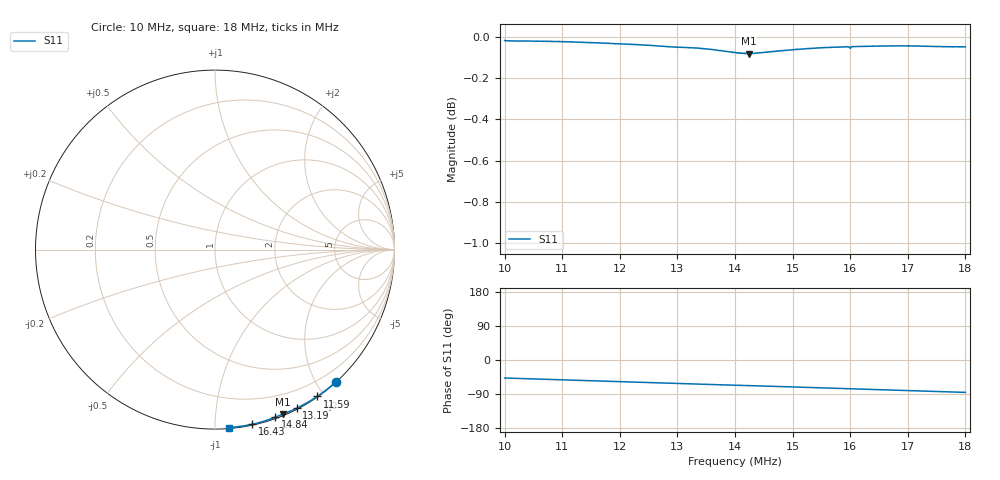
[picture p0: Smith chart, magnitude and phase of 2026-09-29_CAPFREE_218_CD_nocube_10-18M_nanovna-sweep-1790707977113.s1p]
! NanoVNA Web complex sweep
! Processing: unaveraged complex samples; linear segment spacing; no smoothing
# Hz S RI R 50
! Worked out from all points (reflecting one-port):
!   1010 points, 10 MHz to 18 MHz, reference 50 ohm
!   lowest |S11| = -0.1 dB at 14.24 MHz (marker M1), VSWR 217.92, Z = 0.741 - j74.7 ohm
!   phase of S11 starts at -48 deg and turns -38 deg over the sweep
!   S11 on the Smith chart (normalised r, x): 10 MHz: 0.01, -2.27; 11.59 MHz: 0.01, -1.92; 13.19 MHz: 0.01, -1.64; 14.84 MHz: 0.01, -1.42; 16.43 MHz: 0.01, -1.24; 18 MHz: 0.01, -1.08
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1e7  0.6739 -0.7363
1.004757e7  0.671 -0.7387
1.038852e7  0.6497 -0.7573
1.072947e7  0.6278 -0.7754
1.100698e7  0.6096 -0.7896
1.131621e7  0.5888 -0.8047
1.159373e7  0.5698 -0.8179
1.200604e7  0.5411 -0.8366
1.253728e7  0.5028 -0.8591
1.300509e7  0.4686 -0.8772
1.318746e7  0.4551 -0.8839
1.33619e7  0.4421 -0.8901
1.36077e7  0.4236 -0.8982
1.400414e7  0.3942 -0.9098
1.424202e7  0.3774 -0.9162
1.451953e7  0.3579 -0.9248
1.484462e7  0.3339 -0.9348
1.50032e7  0.3218 -0.9394
1.552651e7  0.2811 -0.9536
1.581989e7  0.2575 -0.9606
1.600225e7  0.2434 -0.9635
1.612912e7  0.2327 -0.9672
1.643042e7  0.2082 -0.973
1.673172e7  0.1835 -0.9781
1.700131e7  0.1611 -0.982
1.74374e7  0.1248 -0.987
1.796072e7  0.0812 -0.9913
1.800036e7  0.0778 -0.9915
